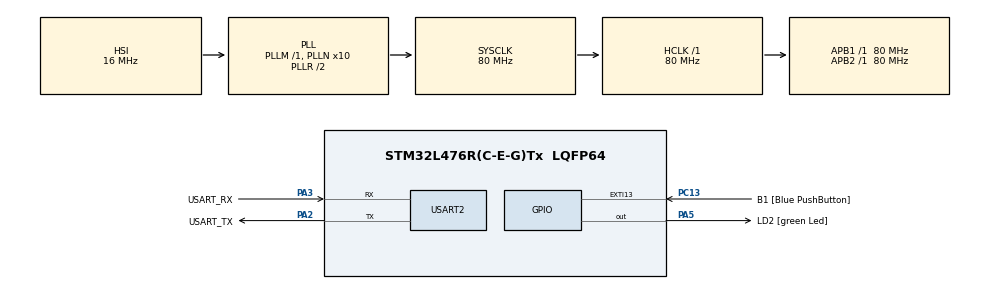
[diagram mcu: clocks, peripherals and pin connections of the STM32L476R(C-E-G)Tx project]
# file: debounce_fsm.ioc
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Mcu.Family=STM32L4
Mcu.Name=STM32L476R(C-E-G)Tx
Mcu.Package=LQFP64
NVIC.PriorityGroup=NVIC_PRIORITYGROUP_4
PA13\ (JTMS-SWDIO).GPIO_Label=TMS
PA13\ (JTMS-SWDIO).Mode=Serial_Wire
PA13\ (JTMS-SWDIO).Signal=SYS_JTMS-SWDIO
PA14\ (JTCK-SWCLK).GPIO_Label=TCK
PA14\ (JTCK-SWCLK).Mode=Serial_Wire
PA14\ (JTCK-SWCLK).Signal=SYS_JTCK-SWCLK
PA2.GPIO_Label=USART_TX
PA2.GPIO_Mode=GPIO_MODE_AF_PP
PA2.GPIO_PuPd=GPIO_NOPULL
PA2.GPIO_Speed=GPIO_SPEED_FREQ_VERY_HIGH
PA2.Mode=Asynchronous
PA2.Signal=USART2_TX
PA3.GPIO_Label=USART_RX
PA3.GPIO_Mode=GPIO_MODE_AF_PP
PA3.GPIO_PuPd=GPIO_NOPULL
PA3.GPIO_Speed=GPIO_SPEED_FREQ_VERY_HIGH
PA3.Mode=Asynchronous
PA3.Signal=USART2_RX
PA5.GPIO_Label=LD2 [green Led]
PA5.GPIO_ModeDefaultOutputPP=GPIO_MODE_OUTPUT_PP
PA5.GPIO_PuPd=GPIO_NOPULL
PA5.GPIO_Speed=GPIO_SPEED_FREQ_LOW
PA5.Signal=GPIO_Output
PB3\ (JTDO-TRACESWO).GPIO_Label=SWO
PB3\ (JTDO-TRACESWO).Signal=SYS_JTDO-SWO
PC13.GPIO_Label=B1 [Blue PushButton]
PC13.GPIO_ModeDefaultEXTI=GPIO_MODE_IT_FALLING
PC13.GPIO_PuPd=GPIO_NOPULL
PC13.Signal=GPXTI13
PC14-OSC32_IN\ (PC14).Mode=LSE-External-Oscillator
PC14-OSC32_IN\ (PC14).Signal=RCC_OSC32_IN
PC15-OSC32_OUT\ (PC15).Mode=LSE-External-Oscillator
PC15-OSC32_OUT\ (PC15).Signal=RCC_OSC32_OUT
PH0-OSC_IN\ (PH0).Signal=RCC_OSC_IN
PH1-OSC_OUT\ (PH1).Signal=RCC_OSC_OUT
ProjectManager.HeapSize=0x200
ProjectManager.StackSize=0x400
ProjectManager.TargetToolchain=STM32CubeIDE
RCC.ADCFreq_Value=64000000
RCC.AHBFreq_Value=80000000
RCC.APB1Freq_Value=80000000
RCC.APB1TimFreq_Value=80000000
RCC.APB2Freq_Value=80000000
RCC.APB2TimFreq_Value=80000000
RCC.CortexFreq_Value=80000000
RCC.HCLKFreq_Value=80000000
RCC.HSE_VALUE=8000000
RCC.HSI_VALUE=16000000
RCC.MSI_VALUE=4000000
RCC.PLLN=10
RCC.PLLSourceVirtual=RCC_PLLSOURCE_HSI
RCC.PREFETCH_ENABLE=1
RCC.SYSCLKFreq_VALUE=80000000
RCC.SYSCLKSource=RCC_SYSCLKSOURCE_PLLCLK
RCC.USBFreq_Value=64000000
RCC.VCOOutputFreq_Value=160000000
USART2.VirtualMode-Asynchronous=VM_ASYNC
board=NUCLEO-L476RG

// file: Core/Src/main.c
/* USER CODE BEGIN Header */
/**
  ******************************************************************************
  * @file           : main.c
  * @brief          : Main program body
  ******************************************************************************
  * @attention
  *
  * <h2><center>&copy; Copyright (c) 2020 STMicroelectronics.
  * All rights reserved.</center></h2>
  *
  * This software component is licensed by ST under BSD 3-Clause license,
  * the "License"; You may not use this file except in compliance with the
  * License. You may obtain a copy of the License at:
  *                        opensource.org/licenses/BSD-3-Clause
  *
  ******************************************************************************
  */
/* USER CODE END Header */

#include "main.h"

UART_HandleTypeDef huart2;

void SystemClock_Config(void);
static void MX_GPIO_Init(void);
static void MX_USART2_UART_Init(void);

int main(void)
{

  /* MCU Configuration--------------------------------------------------------*/

  /* Reset of all peripherals, Initializes the Flash interface and the Systick. */
  HAL_Init();

  /* Configure the system clock */
  SystemClock_Config();

  /* Initialize all configured peripherals */
  MX_GPIO_Init();
  MX_USART2_UART_Init();
  /* USER CODE BEGIN 2 */

  uint8_t cuenta = 0;
  Button_Press = 0;

  /* USER CODE END 2 */

  /* Infinite loop */
  while (1)
  {

	if (Button_Press) {
		HAL_GPIO_TogglePin(LD2_GPIO_Port, LD2_Pin);
		cuenta++;
		Button_Press = 0;
	}

  }
}

void SystemClock_Config(void)
{
  RCC_OscInitTypeDef RCC_OscInitStruct = {0};
  RCC_ClkInitTypeDef RCC_ClkInitStruct = {0};
  RCC_PeriphCLKInitTypeDef PeriphClkInit = {0};

  /** Initializes the CPU, AHB and APB busses clocks
  */
  RCC_OscInitStruct.OscillatorType = RCC_OSCILLATORTYPE_HSI;
  RCC_OscInitStruct.HSIState = RCC_HSI_ON;
  RCC_OscInitStruct.HSICalibrationValue = RCC_HSICALIBRATION_DEFAULT;
  RCC_OscInitStruct.PLL.PLLState = RCC_PLL_ON;
  RCC_OscInitStruct.PLL.PLLSource = RCC_PLLSOURCE_HSI;
  RCC_OscInitStruct.PLL.PLLM = 1;
  RCC_OscInitStruct.PLL.PLLN = 10;
  RCC_OscInitStruct.PLL.PLLP = RCC_PLLP_DIV7;
  RCC_OscInitStruct.PLL.PLLQ = RCC_PLLQ_DIV2;
  RCC_OscInitStruct.PLL.PLLR = RCC_PLLR_DIV2;
  if (HAL_RCC_OscConfig(&RCC_OscInitStruct) != HAL_OK)
  {
    Error_Handler();
  }
  /** Initializes the CPU, AHB and APB busses clocks
  */
  RCC_ClkInitStruct.ClockType = RCC_CLOCKTYPE_HCLK|RCC_CLOCKTYPE_SYSCLK
                              |RCC_CLOCKTYPE_PCLK1|RCC_CLOCKTYPE_PCLK2;
  RCC_ClkInitStruct.SYSCLKSource = RCC_SYSCLKSOURCE_PLLCLK;
  RCC_ClkInitStruct.AHBCLKDivider = RCC_SYSCLK_DIV1;
  RCC_ClkInitStruct.APB1CLKDivider = RCC_HCLK_DIV1;
  RCC_ClkInitStruct.APB2CLKDivider = RCC_HCLK_DIV1;

  if (HAL_RCC_ClockConfig(&RCC_ClkInitStruct, FLASH_LATENCY_4) != HAL_OK)
  {
    Error_Handler();
  }
  PeriphClkInit.PeriphClockSelection = RCC_PERIPHCLK_USART2;
  PeriphClkInit.Usart2ClockSelection = RCC_USART2CLKSOURCE_PCLK1;
  if (HAL_RCCEx_PeriphCLKConfig(&PeriphClkInit) != HAL_OK)
  {
    Error_Handler();
  }
  /** Configure the main internal regulator output voltage
  */
  if (HAL_PWREx_ControlVoltageScaling(PWR_REGULATOR_VOLTAGE_SCALE1) != HAL_OK)
  {
    Error_Handler();
  }
}

static void MX_USART2_UART_Init(void)
{

  huart2.Instance = USART2;
  huart2.Init.BaudRate = 115200;
  huart2.Init.WordLength = UART_WORDLENGTH_8B;
  huart2.Init.StopBits = UART_STOPBITS_1;
  huart2.Init.Parity = UART_PARITY_NONE;
  huart2.Init.Mode = UART_MODE_TX_RX;
  huart2.Init.HwFlowCtl = UART_HWCONTROL_NONE;
  huart2.Init.OverSampling = UART_OVERSAMPLING_16;
  huart2.Init.OneBitSampling = UART_ONE_BIT_SAMPLE_DISABLE;
  huart2.AdvancedInit.AdvFeatureInit = UART_ADVFEATURE_NO_INIT;
  if (HAL_UART_Init(&huart2) != HAL_OK)
  {
    Error_Handler();
  }

}

static void MX_GPIO_Init(void)
{
  GPIO_InitTypeDef GPIO_InitStruct = {0};

  /* GPIO Ports Clock Enable */
  __HAL_RCC_GPIOC_CLK_ENABLE();
  __HAL_RCC_GPIOH_CLK_ENABLE();
  __HAL_RCC_GPIOA_CLK_ENABLE();
  __HAL_RCC_GPIOB_CLK_ENABLE();

  /*Configure GPIO pin Output Level */
  HAL_GPIO_WritePin(LD2_GPIO_Port, LD2_Pin, GPIO_PIN_RESET);

  /*Configure GPIO pin : B1_Pin */
  GPIO_InitStruct.Pin = B1_Pin;
  GPIO_InitStruct.Mode = GPIO_MODE_IT_FALLING;
  GPIO_InitStruct.Pull = GPIO_NOPULL;
  HAL_GPIO_Init(B1_GPIO_Port, &GPIO_InitStruct);

  /*Configure GPIO pin : LD2_Pin */
  GPIO_InitStruct.Pin = LD2_Pin;
  GPIO_InitStruct.Mode = GPIO_MODE_OUTPUT_PP;
  GPIO_InitStruct.Pull = GPIO_NOPULL;
  GPIO_InitStruct.Speed = GPIO_SPEED_FREQ_LOW;
  HAL_GPIO_Init(LD2_GPIO_Port, &GPIO_InitStruct);

}

/* USER CODE BEGIN 4 */

void Find_Button_Press(void) {
	static states Button_State = Waiting;
	static unsigned char Button_Count = 0;
	static uint8_t Temp_Press;

	switch (Button_State) {
		case Waiting:
			if (BUTTON) {
				Button_State = Detected;
				Button_Count = 0;
				Temp_Press = BUTTON;
			}
			break;
		case Detected:
			if (Temp_Press == BUTTON) {
				Button_Count++;
				if (Button_Count > MIN_BUTTON_COUNT) {
					Button_State = WaitForRelease;
				}
			}
			else {
				Button_State = Waiting;
			}
			break;
		case WaitForRelease:
			if (!BUTTON) {
				Button_State = Update;
			}
			break;
		case Update:
			Button_Press = Temp_Press;
			Button_State = Waiting;
			Button_Count = 0;
			Temp_Press = 0;
			break;
		default:
			Button_State = Waiting;
			Button_Count = 0;
			Temp_Press = 0;
			Button_Press = 0;
	}
}

/* USER CODE END 4 */

void Error_Handler(void)
{
}

/************************ (C) COPYRIGHT STMicroelectronics *****END OF FILE****/
